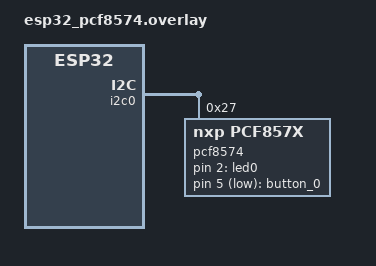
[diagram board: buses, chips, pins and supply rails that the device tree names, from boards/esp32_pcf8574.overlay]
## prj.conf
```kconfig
CONFIG_LOG=y
CONFIG_LOG_DEFAULT_LEVEL=3
CONFIG_GPIO_LOG_LEVEL_DBG=y
#CONFIG_SERIAL=y
#CONFIG_UART_CONSOLE=y
#CONFIG_CONSOLE=y

CONFIG_GPIO=y
CONFIG_I2C=y

# Uncomment to debug I2C https://blog.golioth.io/how-to-use-zephyr-shell-for-interactive-prototyping-with-i2c-sensors/
#CONFIG_SHELL=y
#CONFIG_I2C_SHELL=y
#CONFIG_SHELL_MINIMAL=y

#CONFIG_USB_DEVICE_VID
#CONFIG_USB_DEVICE_PID
```

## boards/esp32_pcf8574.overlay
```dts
/ {
    aliases {
        my-led = &led0;
        my-button = &button_0;
    };

    leds {
        compatible = "gpio-leds";
        led0: d2 {
            gpios = <&pcf8574 2 GPIO_ACTIVE_HIGH>;
        };
    };

    buttons {
        compatible = "gpio-keys";
        debounce-interval-ms = <50>;
        polling-mode;

        button_0: d5 {
            gpios = <&pcf8574 5 GPIO_ACTIVE_LOW>;
        };
    };
};

&i2c0 {
	status = "okay";

	pcf8574: pcf8574@27 {
		compatible = "nxp,pcf857x";
		reg = <0x27>;
		status = "okay";
		ngpios = <8>;
        #gpio-cells = <2>;
        gpio-controller;
	};
};
```

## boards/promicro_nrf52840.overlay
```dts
/ {
    aliases {
        my-led = &l0;
        my-button = &button_0;
    };

    leds {
        compatible = "gpio-leds";
        l0: d2 {
            gpios = <&pcf8574 2 GPIO_ACTIVE_HIGH>;
        };
    };

    buttons {
        compatible = "gpio-keys";
        debounce-interval-ms = <50>;
        polling-mode;

        button_0: d5 {
            gpios = <&pcf8574 5 GPIO_ACTIVE_LOW>;
        };
    };
};

// From boards/others/promicro_nrf52840/promicro_nrf52840-pinctrl.dtsi
// Defaul pins for I2C0: SDA 1.00, SCL 0.11
&i2c0 {
	status = "okay";

	pcf8574: pcf8574@20 {
		compatible = "nxp,pcf857x";
		reg = <0x20>;
		status = "okay";
		ngpios = <8>;
        #gpio-cells = <2>;
        gpio-controller;
	};
};
```

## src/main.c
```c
#include <stdio.h>
#include <zephyr/kernel.h>
#include <zephyr/drivers/gpio.h>

// Settings
static const int32_t sleep_time_ms = 100;
static const struct gpio_dt_spec led = GPIO_DT_SPEC_GET(DT_ALIAS(my_led), gpios);
static const struct gpio_dt_spec btn = GPIO_DT_SPEC_GET(DT_ALIAS(my_button), gpios);

int main(void)
{
	int ret;
	int state;

	// Make sure that the LED was initialized
	if (!gpio_is_ready_dt(&led)) {
		printk("ERROR: LED not ready\r\n");
		return 0;
	}

	// Make sure that the button was initialized
	if (!gpio_is_ready_dt(&btn)) {
		printk("ERROR: button not ready\r\n");
		return 0;
	}

	// Set the LED as output (apply extra flags if needed)
	ret = gpio_pin_configure_dt(&led, GPIO_OUTPUT);
	if (ret < 0) {
		printk("ERROR: cannot configure LED GPIO %d\r\n", ret);
		return 0;
	}

	// Set the button as input (apply extra flags if needed)
	ret = gpio_pin_configure_dt(&btn, GPIO_INPUT);
	if (ret < 0) {
		printk("ERROR: cannot configure button GPIO %d\r\n", ret);
		return 0;
	}

	// Print out flags
	printk("LED spec flags: 0x%x\r\n", led.dt_flags);
	printk("Button spec flags: 0x%x\r\n", btn.dt_flags);
	
	// Do forever
	while (1) {

		// Poll button state
		state = gpio_pin_get_dt(&btn);
        if (state < 0) {
            printk("Error %d: failed to read button pin\r\n", state);
        } else {
            printk("Button state: %d\r\n", state);
        }
		
		// Set LED state
		ret = gpio_pin_set_dt(&led, state);
		if (ret < 0) {
			return 0;
		}

		// Sleep
		k_msleep(sleep_time_ms);
	}

	return 0;
}
```
